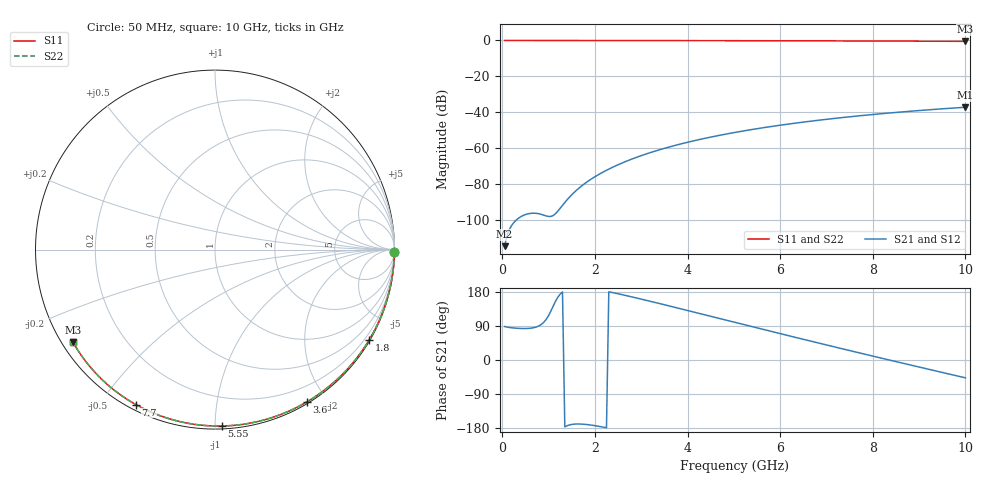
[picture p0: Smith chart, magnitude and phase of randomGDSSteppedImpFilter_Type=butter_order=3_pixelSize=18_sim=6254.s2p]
! freq	dB(S11)	phase(S11)	dB(S12)	phase(S12)
!  dB(S21)	phase(S21)	dB(S22)	phase(S22)
!S-par simulation data
#  GHz  S  DB  R 50
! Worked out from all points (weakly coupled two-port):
!   200 points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, 50 MHz to 10 GHz, reference 50 ohm
!   highest |S21| = -37.29 dB at 10 GHz (marker M1); lowest = -114.9 dB at 50 MHz (marker M2)
!   lowest |S11| = -0.5 dB at 10 GHz (marker M3), VSWR 35.17, Z = 1.55 - j14.8 ohm
!   |S11| at or under -10 dB: nowhere
!   |S22| runs from -0.5 to 0.0 dB; largest |S21 - S12| = 0
!   S11 on the Smith chart (normalised r, x): 50 MHz: open; 1.8 GHz: 0.03, -3.70; 3.6 GHz: 0.02, -1.77; 5.55 GHz: 0.02, -1.04; 7.7 GHz: 0.02, -0.61; 10 GHz: 0.03, -0.30
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0.05  -0.00 -0.9  -114.86 88.3  -114.86 88.3  -0.00 -0.9
0.45  -0.01 -7.7  -97.73 83.0  -97.73 83.0  -0.01 -7.7
0.9  -0.02 -15.3  -97.57 100.0  -97.57 100.0  -0.02 -15.3
1.3  -0.03 -22.0  -92.03 179.6  -92.03 179.6  -0.03 -22.0
1.75  -0.04 -29.4  -80.49 -169.5  -80.49 -169.5  -0.04 -29.4
1.8  -0.04 -30.3  -79.52 -170.0  -79.52 -170.0  -0.04 -30.3
1.95  -0.04 -32.7  -76.89 -172.3  -76.89 -172.3  -0.04 -32.7
2.1  -0.04 -35.2  -74.57 -175.3  -74.57 -175.3  -0.04 -35.2
2.3  -0.05 -38.4  -71.82 180.0  -71.82 180.0  -0.05 -38.4
2.5  -0.05 -41.7  -69.39 174.8  -69.39 174.8  -0.05 -41.6
2.9  -0.06 -48.0  -65.24 163.6  -65.24 163.6  -0.06 -48.0
3.4  -0.07 -55.9  -60.99 148.8  -60.99 148.8  -0.07 -55.9
3.6  -0.08 -59.0  -59.51 142.8  -59.51 142.8  -0.08 -59.0
4.3  -0.10 -69.6  -55.06 121.5  -55.06 121.5  -0.10 -69.6
5.05  -0.12 -80.7  -51.23 98.5  -51.23 98.5  -0.12 -80.7
5.55  -0.14 -87.8  -49.06 83.3  -49.06 83.3  -0.14 -87.8
6.1  -0.17 -95.5  -46.95 66.6  -46.95 66.6  -0.17 -95.5
6.7  -0.20 -103.7  -44.94 48.6  -44.94 48.6  -0.20 -103.7
7.7  -0.27 -117.1  -42.09 19.0  -42.09 19.0  -0.27 -117.1
8.35  -0.32 -125.6  -40.52 0.1  -40.52 0.1  -0.32 -125.6
9.2  -0.40 -136.6  -38.73 -24.3  -38.73 -24.3  -0.40 -136.6
10  -0.49 -146.9  -37.29 -47.1  -37.29 -47.1  -0.49 -146.9
